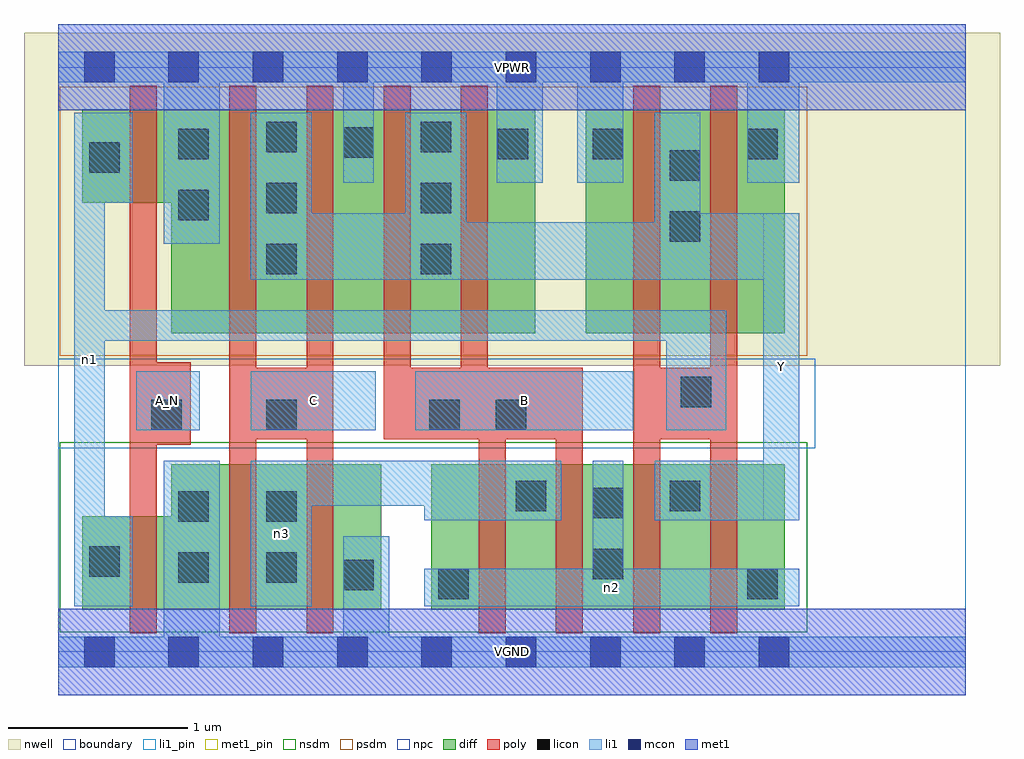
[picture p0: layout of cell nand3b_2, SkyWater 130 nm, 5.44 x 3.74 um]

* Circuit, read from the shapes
.subckt nand3b_2 A_N B C VGND VPWR Y n1 n2 n3
XM1 VGND A_N n1 VSUBS sky130_fd_pr__nfet_01v8 w=0.52 l=0.15
XM2 n3 C VGND VSUBS sky130_fd_pr__nfet_01v8 w=0.81 l=0.15 m=2
XM3 n3 B n2 VSUBS sky130_fd_pr__nfet_01v8 w=0.81 l=0.15 m=2
XM4 Y n1 n2 VSUBS sky130_fd_pr__nfet_01v8 w=0.81 l=0.15 m=2
XM5 VPWR A_N n1 n4 sky130_fd_pr__pfet_01v8 w=0.52 l=0.15
XM6 Y C VPWR n4 sky130_fd_pr__pfet_01v8 w=1.25 l=0.15 m=2
XM7 Y B VPWR n4 sky130_fd_pr__pfet_01v8 w=1.25 l=0.15 m=2
XM8 Y n1 VPWR n4 sky130_fd_pr__pfet_01v8 w=1.25 l=0.15 m=2
.ends

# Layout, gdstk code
import gdstk
lib = gdstk.Library(unit=1e-6, precision=1e-09)
def R(c, l, rs):  # rectangles x0, y0, x1, y1
    for r in rs: c.add(gdstk.rectangle(r[:2], r[2:], *l))
def A(c, l, x, y, w, h, nx, ny, dx, dy):  # array of equal rectangles
    R(c, l, [(x+i*dx, y+j*dy, x+i*dx+w, y+j*dy+h) for i in range(nx) for j in range(ny)])
nwell = (64, 20)
diff = (65, 20)
poly = (66, 20)
licon = (66, 44)
li1_pin = (67, 16)
li1 = (67, 20)
mcon = (67, 44)
met1_pin = (68, 16)
met1 = (68, 20)
nsdm = (93, 44)
psdm = (94, 20)
npc = (95, 20)
boundary = (235, 4)

nand3b_2 = lib.new_cell('nand3b_2')
R(nand3b_2, nwell, [(-0.19,1.595,5.25,3.45), (0,1.595,5.06,3.45)])
R(nand3b_2, diff, [(0.135,0.235,1.8,0.755), (0.63,0.235,1.8,1.045), (2.08,0.235,4.05,1.045), (0.63,1.775,2.66,3.025), (2.94,1.775,4.05,3.025), (0.135,2.505,2.66,3.025)])
R(nand3b_2, poly, [(0.4,0.105,0.55,3.155), (0.955,0.105,1.105,3.155), (1.385,0.105,1.535,3.155), (2.345,0.105,2.495,1.585), (2.775,0.105,2.925,1.585), (3.205,0.105,3.355,3.155), (3.635,0.105,3.785,3.155), (0.4,1.155,0.74,1.615), (0.955,1.185,1.535,1.585), (1.815,1.185,2.925,1.585), (1.815,1.185,1.965,3.155), (2.245,1.185,2.395,3.155), (3.205,1.185,3.785,1.585)])
A(nand3b_2, licon, 1.16, 2.105, 0.17, 0.17, 1, 3, 0, 0.34)
A(nand3b_2, licon, 2.02, 2.105, 0.17, 0.17, 1, 3, 0, 0.34)
R(nand3b_2, licon, [(2.12,0.295,2.29,0.465), (3.84,0.295,4.01,0.465), (1.59,0.345,1.76,0.515), (0.67,0.385,0.84,0.555), (1.16,0.385,1.33,0.555), (2.98,0.405,3.15,0.575), (0.175,0.42,0.345,0.59), (0.67,0.725,0.84,0.895), (1.16,0.725,1.33,0.895), (2.98,0.745,3.15,0.915), (2.55,0.785,2.72,0.955), (3.41,0.785,3.58,0.955), (0.52,1.235,0.69,1.405), (1.16,1.235,1.33,1.405), (2.07,1.235,2.24,1.405), (2.44,1.235,2.61,1.405), (3.47,1.365,3.64,1.535), (3.41,2.285,3.58,2.455), (0.67,2.405,0.84,2.575), (3.41,2.625,3.58,2.795), (0.175,2.67,0.345,2.84), (0.67,2.745,0.84,2.915), (2.45,2.745,2.62,2.915), (2.98,2.745,3.15,2.915), (3.84,2.745,4.01,2.915), (1.59,2.755,1.76,2.925)])
R(nand3b_2, li1_pin, [(3.93,0.735,4.13,2.445), (0.435,1.235,0.79,1.565), (1.075,1.235,1.77,1.565), (1.99,1.235,3.205,1.565)])
R(nand3b_2, li1, [(0,-0.085,5.06,0.085), (0.59,-0.085,0.9,1.065), (1.59,-0.085,1.845,0.645), (0.09,0.255,0.26,3.005), (0.09,0.255,0.415,0.755), (1.075,0.255,1.415,1.065), (2.04,0.255,4.13,0.465), (2.98,0.255,3.15,1.065), (2.04,0.735,2.805,1.065), (3.325,0.735,4.13,1.065), (3.93,0.735,4.13,2.445), (1.075,0.815,2.805,1.065), (0.435,1.235,0.79,1.565), (1.075,1.235,1.77,1.565), (1.99,1.235,3.205,1.565), (3.39,1.235,3.725,1.905), (0.09,1.735,3.725,1.905), (1.075,2.075,4.13,2.395), (1.075,2.075,1.415,3.005), (1.075,2.075,2.275,2.445), (1.935,2.075,2.275,3.005), (3.325,2.075,3.58,3.005), (3.325,2.075,4.13,2.445), (0.59,2.275,0.9,3.345), (0.09,2.505,0.415,3.005), (1.59,2.615,1.76,3.345), (2.445,2.615,2.7,3.345), (2.895,2.615,3.15,3.345), (3.84,2.615,4.13,3.345), (0,3.175,5.06,3.345)])
A(nand3b_2, mcon, 0.145, -0.085, 0.17, 0.17, 9, 2, 0.47, 3.26)
R(nand3b_2, met1_pin, [(0,-0.24,5.06,0.24), (0,3.02,5.06,3.5)])
R(nand3b_2, met1, [(0,-0.24,5.06,0.24), (0,3.02,5.06,3.5)])
R(nand3b_2, nsdm, [(0.01,0.11,4.175,1.17)])
R(nand3b_2, psdm, [(0.01,1.65,4.175,3.15)])
R(nand3b_2, npc, [(0,1.135,4.22,1.635)])
R(nand3b_2, boundary, [(0,0,5.06,3.26)])
nand3b_2.add(gdstk.Label('A_N', (0.612,1.4), layer=67, texttype=5))
nand3b_2.add(gdstk.Label('B', (2.597,1.4), layer=67, texttype=5))
nand3b_2.add(gdstk.Label('C', (1.422,1.4), layer=67, texttype=5))
nand3b_2.add(gdstk.Label('Y', (4.03,1.59), layer=67, texttype=5))
nand3b_2.add(gdstk.Label('n3', (1.245,0.66), layer=67, texttype=5))
nand3b_2.add(gdstk.Label('n2', (3.085,0.36), layer=67, texttype=5))
nand3b_2.add(gdstk.Label('n1', (0.175,1.63), layer=67, texttype=5))
nand3b_2.add(gdstk.Label('VPWR', (2.53,3.26), layer=68, texttype=5))
nand3b_2.add(gdstk.Label('VGND', (2.53,0), layer=68, texttype=5))
nand3b_2.add(gdstk.Label('A_N', (0.612,1.4), layer=67, texttype=16))
nand3b_2.add(gdstk.Label('B', (2.597,1.4), layer=67, texttype=16))
nand3b_2.add(gdstk.Label('C', (1.422,1.4), layer=67, texttype=16))
nand3b_2.add(gdstk.Label('Y', (4.03,1.59), layer=67, texttype=16))
nand3b_2.add(gdstk.Label('VPWR', (2.53,3.26), layer=68, texttype=16))
nand3b_2.add(gdstk.Label('VGND', (2.53,0), layer=68, texttype=16))

lib.write_gds('nand3b_2.gds')
